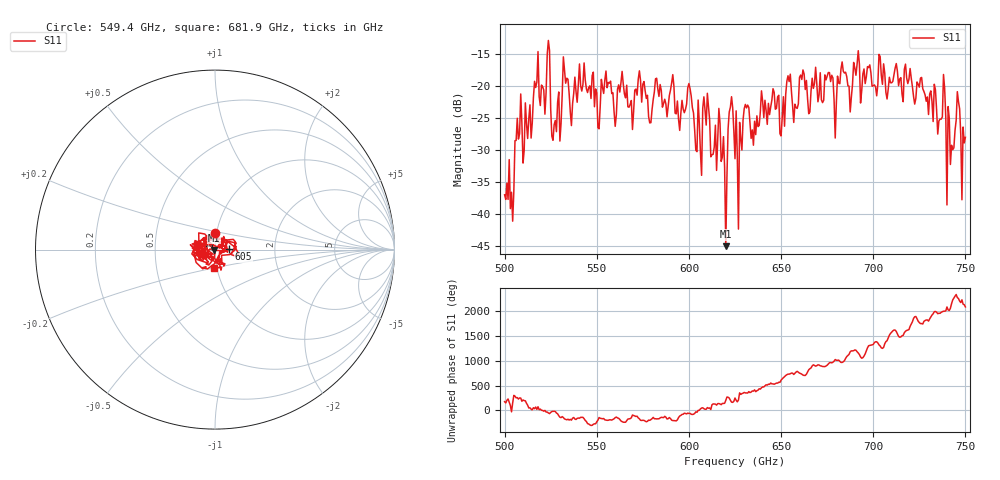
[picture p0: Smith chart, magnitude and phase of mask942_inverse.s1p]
!Created with skrf (http://scikit-rf.org).
# GHz S MA R 50.0
!freq magS11 angS11
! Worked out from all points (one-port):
!   401 points, 500 GHz to 750 GHz, reference 50 ohm
!   lowest |S11| = -45.1 dB at 620 GHz (marker M1), VSWR 1.01, Z = 49.5 - j0.203 ohm
!   |S11| at or under -10 dB: start of sweep to end of sweep
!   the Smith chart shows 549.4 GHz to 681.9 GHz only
!   S11 on the Smith chart (normalised r, x): 549.4 GHz: 0.98, +0.19; 605 GHz: 1.17, +0.00; 681.9 GHz: 0.97, -0.20
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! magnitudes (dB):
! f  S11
! 500 GHz  -37.0
! 504.4 GHz  -41.2
! 507.5 GHz  -28.3
! 516.9 GHz  -20.3
! 523.8 GHz  -12.9
! 526.9 GHz  -26.1
! 531.2 GHz  -21.4
! 549.4 GHz  -20.5
! 562.5 GHz  -21.0
! 593.8 GHz  -22.4
! 600.6 GHz  -20.4
! 605 GHz  -22.2
! 609.4 GHz  -26.1
! 620 GHz  -45.1
! 622.5 GHz  -23.3
! 625 GHz  -31.4
! 627.5 GHz  -25.7
! 631.2 GHz  -23.4
! 635 GHz  -29.3
! 656.2 GHz  -23.1
! 681.9 GHz  -19.7
! 687.5 GHz  -24.1
! 690.6 GHz  -18.3
! 718.8 GHz  -19.6
! 738.1 GHz  -18.2
! 741.2 GHz  -25.1
! 745.6 GHz  -20.9
! 750 GHz  -28.0
